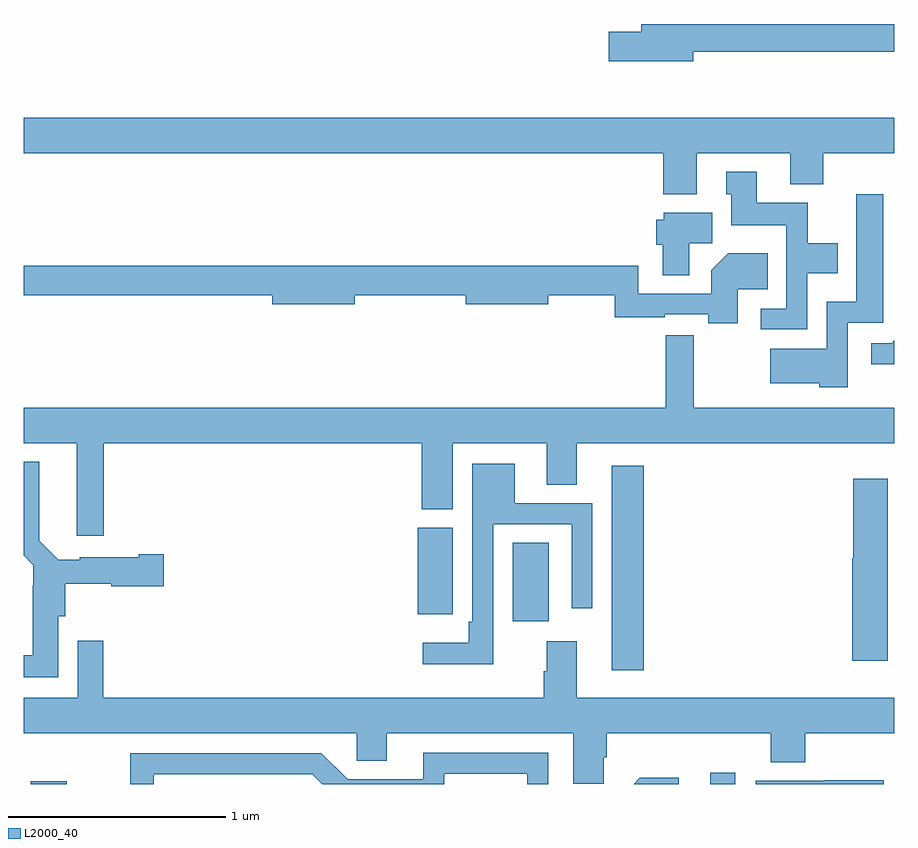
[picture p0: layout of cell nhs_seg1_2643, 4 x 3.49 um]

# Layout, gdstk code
import gdstk
lib = gdstk.Library(unit=1e-6, precision=1e-09)
def R(c, l, rs):  # rectangles x0, y0, x1, y1
    for r in rs: c.add(gdstk.rectangle(r[:2], r[2:], *l))
def P(c, l, *ps):  # polygons
    for p in ps: c.add(gdstk.Polygon(p, *l))
L2000_40 = (2000, 40)

nhs_seg1_2643 = lib.new_cell('nhs_seg1_2643')
R(nhs_seg1_2643, L2000_40, [(255.032,518.199,255.198,518.212), (258.155,518.199,258.27,518.251), (257.702,518.721,257.849,519.661), (257.246,518.946,257.413,519.308)])
P(nhs_seg1_2643, L2000_40, [(258.076,521.562),(259,521.562),(259,521.69),(257.837,521.69),(257.837,521.654),(257.688,521.654),(257.688,521.519),(258.076,521.519)],
  [(255,521.096),(257.939,521.096),(257.939,520.907),(258.091,520.907),(258.091,521.096),(258.521,521.096),(258.521,520.955),(258.674,520.955),(258.674,521.096),(259,521.096),(259,521.26),(255,521.26)],
  [(258.6,520.544),(258.739,520.544),(258.739,520.684),(258.603,520.684),(258.603,520.87),(258.367,520.87),(258.367,521.011),(258.227,521.011),(258.227,520.908),(258.251,520.908),(258.251,520.766),(258.504,520.766),(258.504,520.383),(258.387,520.383),(258.387,520.287),(258.6,520.287)],
  [(258.786,520.317),(258.949,520.317),(258.949,520.909),(258.824,520.909),(258.824,520.414),(258.69,520.414),(258.69,520.198),(258.429,520.198),(258.429,520.04),(258.654,520.04),(258.654,520.022),(258.786,520.022)],
  [(258.058,520.684),(258.163,520.684),(258.163,520.822),(257.94,520.822),(257.94,520.791),(257.906,520.791),(257.906,520.677),(257.936,520.677),(257.936,520.537),(258.058,520.537)],
  [(258.28,520.472),(258.419,520.472),(258.419,520.636),(258.236,520.636),(258.158,520.558),(258.158,520.452),(257.823,520.452),(257.823,520.58),(255,520.58),(255,520.444),(256.142,520.444),(256.142,520.402),(256.522,520.402),(256.522,520.444),(257.03,520.444),(257.03,520.402),(257.41,520.402),(257.41,520.444),(257.715,520.444),(257.715,520.344),(257.946,520.344),(257.946,520.356),(258.146,520.356),(258.146,520.315),(258.28,520.315)],
  [(255,519.764),(255.245,519.764),(255.245,519.339),(255.368,519.339),(255.368,519.764),(256.829,519.764),(256.829,519.46),(256.972,519.46),(256.972,519.764),(257.402,519.764),(257.402,519.574),(257.542,519.574),(257.542,519.764),(259,519.764),(259,519.928),(258.079,519.928),(258.079,520.261),(257.95,520.261),(257.95,519.928),(255,519.928)],
  [(259,520.237),(258.987,520.224),(258.894,520.224),(258.894,520.127),(259,520.127)],
  [(255.16,518.97),(255.191,518.97),(255.191,519.119),(255.402,519.119),(255.402,519.107),(255.643,519.107),(255.643,519.254),(255.53,519.254),(255.53,519.241),(255.258,519.241),(255.258,519.229),(255.159,519.229),(255.073,519.316),(255.073,519.679),(255,519.679),(255,519.249),(255.045,519.204),(255.045,519.11),(255.041,519.11),(255.041,518.791),(255,518.791),(255,518.69),(255.16,518.69)],
  [(257.157,519.393),(257.517,519.393),(257.517,519.006),(257.613,519.006),(257.613,519.489),(257.257,519.489),(257.257,519.67),(257.061,519.67),(257.061,518.944),(257.045,518.944),(257.045,518.848),(256.833,518.848),(256.833,518.75),(257.157,518.75)],
  [(258.97,519.601),(258.812,519.601),(258.812,519.237),(258.806,519.237),(258.806,518.766),(258.97,518.766)],
  [(256.971,519.091),(256.972,519.091),(256.972,519.375),(256.811,519.375),(256.811,518.979),(256.971,518.979)],
  [(257.664,518.323),(257.678,518.323),(257.678,518.432),(258.431,518.432),(258.431,518.299),(258.591,518.299),(258.591,518.432),(259,518.432),(259,518.596),(257.542,518.596),(257.542,518.854),(257.402,518.854),(257.402,518.717),(257.39,518.717),(257.39,518.596),(255.365,518.596),(255.365,518.857),(255.249,518.857),(255.249,518.596),(255,518.596),(255,518.432),(256.53,518.432),(256.53,518.305),(256.669,518.305),(256.669,518.432),(257.525,518.432),(257.525,518.2),(257.664,518.2)],
  [(255.597,518.244),(256.326,518.244),(256.371,518.199),(256.932,518.199),(256.932,518.247),(257.313,518.247),(257.313,518.199),(257.409,518.199),(257.409,518.343),(256.835,518.343),(256.835,518.22),(256.488,518.22),(256.368,518.34),(255.489,518.34),(255.489,518.199),(255.597,518.199)],
  [(258.01,518.228),(257.831,518.228),(257.802,518.199),(258.01,518.199)],
  [(258.951,518.216),(258.679,518.216),(258.679,518.214),(258.363,518.214),(258.363,518.199),(258.951,518.199)])

lib.write_gds('nhs_seg1_2643.gds')
